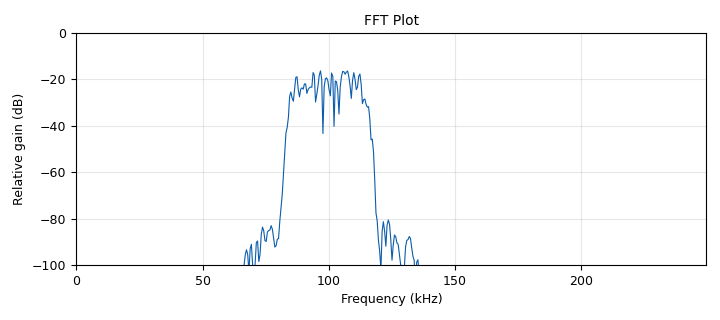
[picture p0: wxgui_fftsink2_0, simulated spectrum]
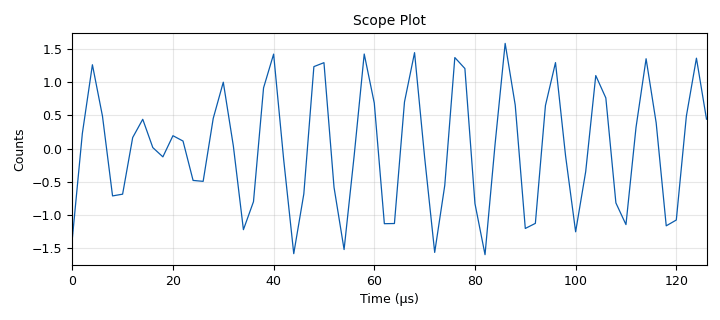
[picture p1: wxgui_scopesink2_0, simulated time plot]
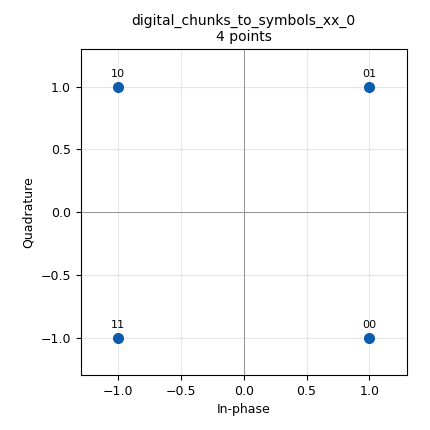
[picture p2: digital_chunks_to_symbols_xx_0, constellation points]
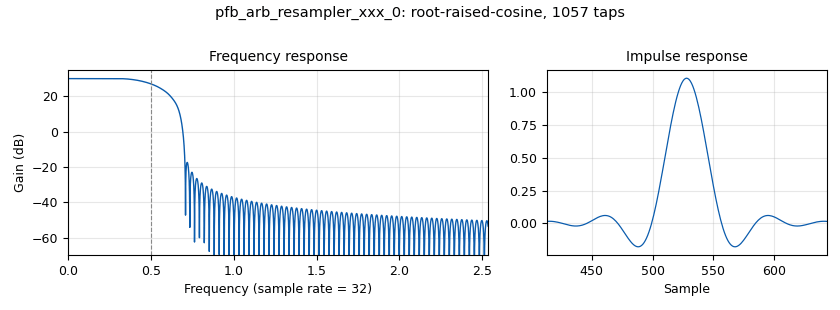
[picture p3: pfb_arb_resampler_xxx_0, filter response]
options:
  parameters:
    generate_options: qt_gui
    id: top_block
    output_language: python
  states: {}

blocks:
- name: const_points
  id: variable
  parameters:
    value: '4'
  states: {}
- name: excess_bw
  id: variable
  parameters:
    value: '0.4'
  states: {}
- name: nfilts
  id: variable
  parameters:
    value: '32'
  states: {}
- name: ntaps
  id: variable
  parameters:
    value: 11*nfilts*sps
  states: {}
- name: samp_rate
  id: variable
  parameters:
    value: '20000'
  states: {}
- name: sps
  id: variable
  parameters:
    value: '3'
  states: {}
- name: tx_taps
  id: variable
  parameters:
    value: firdes.root_raised_cosine(nfilts, nfilts, 1.0, excess_bw, ntaps)
  states: {}
- name: analog_random_source_x_0
  id: analog_random_source_x
  parameters:
    max: const_points
    min: '0'
    num_samps: '1000'
    repeat: 'True'
    type: byte
  states: {}
- name: analog_sig_source_x_0
  id: analog_sig_source_x
  parameters:
    amp: '1'
    freq: 100e3
    offset: '0'
    phase: '0'
    samp_rate: 500e3
    type: complex
    waveform: analog.GR_COS_WAVE
  states: {}
- name: blocks_complex_to_real_0
  id: blocks_complex_to_real
  parameters: {}
  states: {}
- name: blocks_file_sink_0
  id: blocks_file_sink
  parameters:
    file: /media/aaronjs/New Volume/IITB_Files/Annual_Academic_Files/Year_3/Semester_5/EE340/Labwork/P7/Modulated.bin
    type: float
  states: {}
- name: blocks_multiply_xx_0
  id: blocks_multiply_xx
  parameters:
    type: complex
  states: {}
- name: blocks_throttle_0
  id: blocks_throttle
  parameters:
    samples_per_second: 500e3
    type: float
  states: {}
- name: digital_chunks_to_symbols_xx_0
  id: digital_chunks_to_symbols_xx
  parameters:
    dimension: '1'
    in_type: byte
    out_type: complex
    symbol_table: ((1-1j),(1+1j),(-1+1j),(-1-1j))
  states: {}
- name: import_0
  id: import
  parameters:
    imports: from math import pi
  states: {}
- name: import_0_0
  id: import
  parameters:
    imports: from gnuradio import digital
  states: {}
- name: import_0_0_0
  id: import
  parameters:
    imports: from gnuradio import filter
  states: {}
- name: pfb_arb_resampler_xxx_0
  id: pfb_arb_resampler_xxx
  parameters:
    atten: '100'
    nfilts: '32'
    rrate: sps
    taps: tx_taps
    type: ccf
  states: {}
- name: rational_resampler_xxx_0
  id: rational_resampler_xxx
  parameters:
    decim: '3'
    interp: '20'
    taps: ''
    type: ccc
  states: {}
- name: wxgui_fftsink2_0
  id: wxgui_fftsink2
  parameters:
    average: 'False'
    avg_alpha: '0'
    baseband_freq: '0'
    fft_rate: '15'
    fft_size: '1024'
    freqvar: None
    peak_hold: 'False'
    ref_level: '0'
    ref_scale: '2.0'
    samp_rate: 500e3
    title: FFT Plot
    type: float
    win: None
    y_divs: '10'
    y_per_div: '10'
  states: {}
- name: wxgui_scopesink2_0
  id: wxgui_scopesink2
  parameters:
    ac_couple: 'False'
    num_inputs: '1'
    samp_rate: 500e3
    t_scale: '0'
    title: Scope Plot
    trig_mode: wxgui.TRIG_MODE_AUTO
    type: float
    v_offset: '0'
    v_scale: '0'
    xy_mode: 'False'
    y_axis_label: Counts
  states: {}

connections:
- [analog_random_source_x_0, '0', digital_chunks_to_symbols_xx_0, '0']
- [analog_sig_source_x_0, '0', blocks_multiply_xx_0, '1']
- [blocks_complex_to_real_0, '0', blocks_throttle_0, '0']
- [blocks_multiply_xx_0, '0', blocks_complex_to_real_0, '0']
- [blocks_throttle_0, '0', blocks_file_sink_0, '0']
- [blocks_throttle_0, '0', wxgui_fftsink2_0, '0']
- [blocks_throttle_0, '0', wxgui_scopesink2_0, '0']
- [digital_chunks_to_symbols_xx_0, '0', pfb_arb_resampler_xxx_0, '0']
- [pfb_arb_resampler_xxx_0, '0', rational_resampler_xxx_0, '0']
- [rational_resampler_xxx_0, '0', blocks_multiply_xx_0, '0']

metadata:
  file_format: 1
  grc_version: 3.10.5.1
